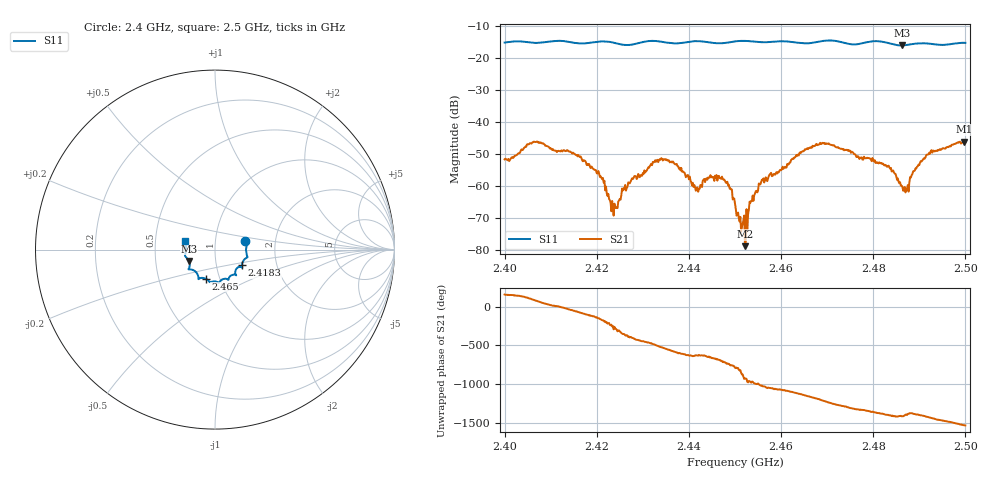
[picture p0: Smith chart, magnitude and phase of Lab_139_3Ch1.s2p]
# Hz S RI R 50
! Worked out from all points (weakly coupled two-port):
!   601 points, 2.4 GHz to 2.5 GHz, reference 50 ohm
!   highest |S21| = -46.07 dB at 2.4997 GHz (marker M1); lowest = -78.8 dB at 2.4522 GHz (marker M2)
!   lowest |S11| = -16.0 dB at 2.4862 GHz (marker M3), VSWR 1.37, Z = 37.1 - j4.83 ohm
!   |S11| at or under -10 dB: start of sweep to end of sweep
!   S12 and S22 are empty: the file has one direction only
!   S11 on the Smith chart (normalised r, x): 2.4 GHz: 1.40, +0.13; 2.4183 GHz: 1.33, -0.24; 2.465 GHz: 0.86, -0.29; 2.5 GHz: 0.71, +0.07
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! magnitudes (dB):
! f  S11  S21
! 2.4 GHz  -15.1  -51.6
! 2.4067 GHz  -15.2  -46.2
! 2.4167 GHz  -15.4  -51.2
! 2.4183 GHz  -15.2  -53.1
! 2.424 GHz  -15.3  -66.8
! 2.4278 GHz  -15.7  -57.8
! 2.4333 GHz  -14.7  -52.5
! 2.437 GHz  -15.4  -53.2
! 2.4418 GHz  -14.7  -60.4
! 2.4468 GHz  -15.4  -57.5
! 2.4488 GHz  -15.0  -60.8
! 2.45 GHz  -14.8  -65.6
! 2.4522 GHz  -14.6  -78.8
! 2.4557 GHz  -15.0  -58.7
! 2.465 GHz  -15.4  -48.9
! 2.4667 GHz  -15.2  -48.0
! 2.4833 GHz  -15.3  -53.6
! 2.4862 GHz  -16.0  -59.9
! 2.4872 GHz  -15.9  -60.9
! 2.4922 GHz  -15.5  -49.6
! 2.4997 GHz  -15.2  -46.1
! 2.5 GHz  -15.2  -46.3
